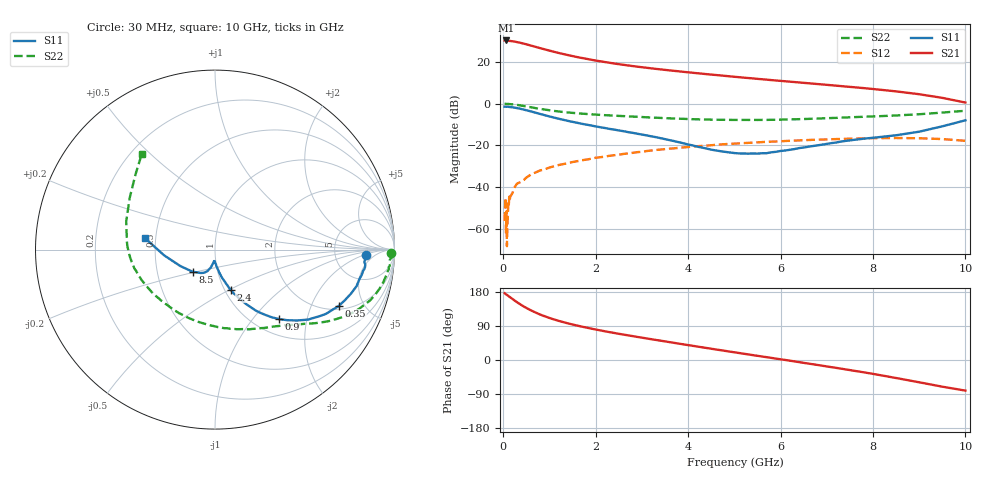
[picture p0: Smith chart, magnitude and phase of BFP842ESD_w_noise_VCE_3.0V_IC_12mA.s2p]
! Infineon Technologies  Discrete & RF Semiconductors
! BFP842ESD
! VCE =  3.0 V,  IC =  12 mA
! Common Emitter S-Parameters:  May 2012
# GHz  S  MA  R  50
!  f  S11  S21  S12  S22
! GHz  MAG  ANG  MAG  ANG  MAG  ANG  MAG  ANG
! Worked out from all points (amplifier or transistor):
!   99 points, 30 MHz to 10 GHz, reference 50 ohm
!   highest |S21| = 30.0 dB at 60 MHz (marker M1)
!   |S21| within 3 dB of that: start of sweep to 691.9 MHz
!   unconditionally stable (mu >= 1): 2.73 GHz to end of sweep
!   at 350 MHz: K = 0.33, MSG = 33.3 dB, |S12| = -37.7 dB
!   at 3.5 GHz: K = 1.04, MAG = 17.6 dB, |S12| = -21.7 dB
!   at 10 GHz: K = 1.75, MAG = 4.1 dB, |S12| = -17.8 dB
!   lowest NFmin = 0.63 dB at 450 MHz
!   S11 on the Smith chart (normalised r, x): 30 MHz: 11, -2; 350 MHz: 2.18, -3.22; 900 MHz: 1.28, -1.37; 2.4 GHz: 1.07, -0.50; 8.5 GHz: 0.76, -0.19; 10 GHz: 0.43, +0.07
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0.03  0.8432 -2.0  31.72 176.3  0.0016 34.8  0.9792 -1.0
0.05  0.8372 -3.8  31.33 174.1  0.0057 74.9  0.986 -2.5
0.06  0.8369 -4.1  31.77 173.3  0.0008 139.3  0.9804 -2.9
0.07  0.8354 -4.9  31.38 172.6  0.0027 69.3  0.9756 -3.4
0.08  0.8412 -5.6  31.41 171.6  0.0004 -83.8  0.9748 -3.7
0.09  0.8417 -6.6  30.96 171.1  0.0012 90.0  0.9792 -4.4
0.11  0.8334 -8.2  31.39 168.9  0.0042 79.4  0.9723 -5.8
0.25  0.7967 -17.9  29.85 156.6  0.0103 76.0  0.9422 -13.4
0.35  0.7578 -24.5  28.29 148.4  0.0131 75.0  0.9087 -18.2
0.5  0.6915 -32.4  25.75 137.4  0.0172 69.7  0.8509 -24.0
0.6  0.6482 -37.0  23.97 131.0  0.0204 67.2  0.8138 -27.2
0.8  0.5633 -44.3  20.84 119.9  0.0255 62.8  0.7457 -32.4
0.9  0.5266 -47.3  19.45 115.3  0.0271 61.7  0.7165 -34.5
1.2  0.4341 -54.3  16 103.3  0.0343 58.4  0.6471 -39.7
1.4  0.3862 -57.6  14.26 96.7  0.0379 56.8  0.6127 -42.8
1.7  0.3288 -61.7  12.16 88.1  0.0445 54.3  0.5737 -47.2
2.4  0.2393 -68.8  8.977 71.4  0.0586 47.9  0.5144 -58.1
3.4  0.1498 -77.2  6.508 51.1  0.0799 37.4  0.4536 -76.8
5.1  0.0648 -92.2  4.239 18.5  0.1123 15.6  0.4058 -117.1
6.7  0.097 -102.2  2.976 -11.2  0.1366 -6.9  0.4341 -152.9
8.5  0.1752 -135.4  1.947 -47.5  0.1507 -37.8  0.519 162.4
10  0.3981 170.4  1.055 -80.8  0.1294 -70.2  0.6722 127.3
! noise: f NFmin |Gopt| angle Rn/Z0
0.45  0.63  0.11  0  0.11
0.9  0.64  0.11  2  0.1
1.5  0.65  0.11  6  0.09
1.9  0.66  0.1  15  0.08
2.4  0.67  0.08  19  0.08
3.5  0.74  0.03  146  0.08
4  0.78  0.05  -160  0.07
5  0.85  0.08  -132  0.07
5.5  0.95  0.1  -127  0.08
6  1.05  0.11  -121  0.1
